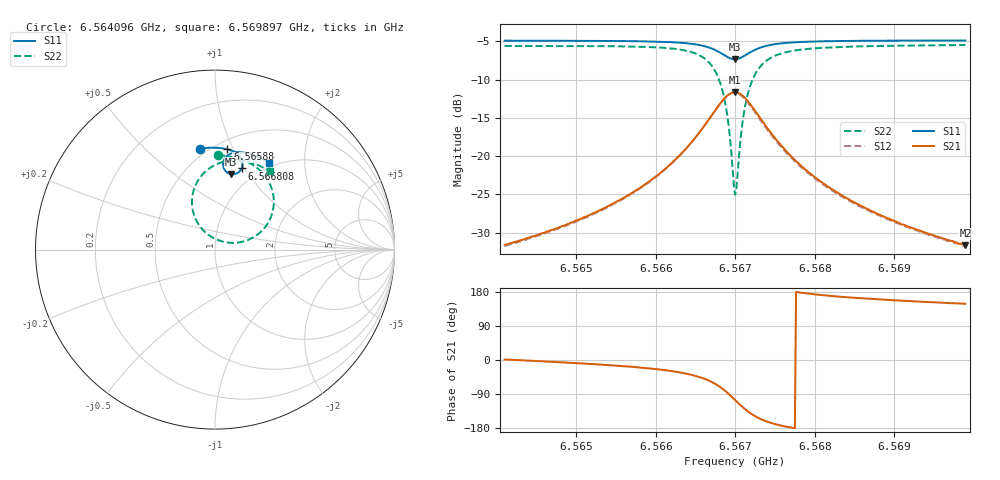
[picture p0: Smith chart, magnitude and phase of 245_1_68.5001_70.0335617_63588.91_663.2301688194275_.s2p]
#  HZ  S  RI  R  50.00
! Rohde & Schwarz Vector Network Analyzer
! Rohde-Schwarz,ZNB20-2Port,1311601062101988,3.16
! Created: UTC 3/20/2024, 4:59:36 PM
! freq[Hz]  re:S11  im:S11  re:S21  im:S21  re:S12  im:S12  re:S22  im:S22
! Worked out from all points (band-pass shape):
!   401 points, 6.564096 GHz to 6.569897 GHz, reference 50 ohm
!   highest |S21| = -11.64 dB at 6.566996 GHz (marker M1); lowest = -31.7 dB at 6.569897 GHz (marker M2)
!   |S21| within 3 dB of the highest: 6.566705 GHz to 6.567287 GHz (582.1 kHz wide, 0.00886 % of centre)
!   lowest |S11| = -7.3 dB at 6.566996 GHz (marker M3), VSWR 2.51, Z = 40.4 + j41.7 ohm
!   |S11| at or under -10 dB: nowhere
!   |S22| runs from -25.1 to -5.5 dB; largest |S21 - S12| = 0.012
!   S11 on the Smith chart (normalised r, x): 6.564096 GHz: 0.45, +0.76; 6.56588 GHz: 0.58, +0.95; 6.566808 GHz: 0.83, +0.97; 6.569897 GHz: 0.94, +1.34
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6.5640957e9  -0.0828 0.5631  0.0263 0.000504  0.0258 2.17e-05  0.0161 0.5249
6.5650674e9  -0.00424 0.568  0.0386 -0.00615  0.038 -0.00669  0.1052 0.5145
6.5658796e9  0.0691 0.5589  0.0617 -0.024  0.0607 -0.0248  0.2026 0.4769
6.5660391e9  0.0852 0.554  0.0692 -0.0322  0.0682 -0.033  0.2274 0.4606
6.5663582e9  0.1205 0.5359  0.0891 -0.0625  0.0878 -0.0637  0.2858 0.4007
6.5665758e9  0.1449 0.509  0.1021 -0.109  0.0998 -0.1111  0.3236 0.3109
6.5667063e9  0.1536 0.4809  0.0977 -0.1582  0.0938 -0.1609  0.3224 0.2169
6.5668078e9  0.1485 0.4519  0.0714 -0.2082  0.0651 -0.2109  0.2773 0.123
6.5668948e9  0.1281 0.4283  0.0198 -0.2467  0.0102 -0.2472  0.1836 0.0535
6.5669238e9  0.1178 0.4231  -0.004 -0.2542  -0.0142 -0.2534  0.1408 0.0412
6.5669674e9  0.0998 0.4197  -0.0431 -0.2571  -0.0537 -0.2535  0.0712 0.0392
6.5669964e9  0.0875 0.4209  -0.0695 -0.2525  -0.0799 -0.2471  0.025 0.05
6.5670254e9  0.0757 0.425  -0.0946 -0.2428  -0.1042 -0.2356  -0.0179 0.0699
6.5670834e9  0.0569 0.4399  -0.1354 -0.2111  -0.142 -0.2015  -0.084 0.1301
6.5671269e9  0.0485 0.4545  -0.1551 -0.1817  -0.1593 -0.1715  -0.1134 0.1841
6.5671849e9  0.0448 0.4745  -0.1675 -0.1421  -0.1689 -0.1324  -0.1282 0.2544
6.5672574e9  0.0488 0.496  -0.1674 -0.0999  -0.1663 -0.0916  -0.1198 0.3276
6.5675185e9  0.0876 0.5346  -0.1257 -0.0219  -0.1229 -0.0183  -0.0249 0.4571
6.5679681e9  0.1462 0.5423  -0.0747 0.00786  -0.0731 0.00904  0.0951 0.4967
6.5683742e9  0.1862 0.5354  -0.0526 0.013  -0.0514 0.0135  0.1603 0.4934
6.5689398e9  0.2335 0.5194  -0.0363 0.0144  -0.0353 0.0145  0.2244 0.4766
6.5698971e9  0.3027 0.4841  -0.0222 0.0137  -0.0218 0.0139  0.3044 0.4375
